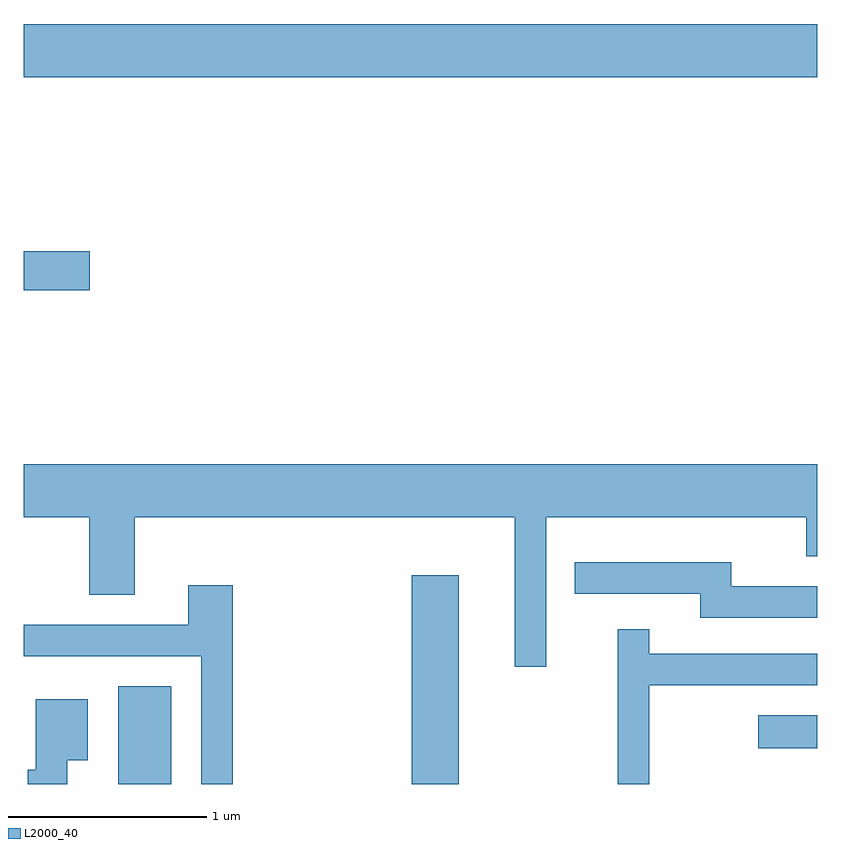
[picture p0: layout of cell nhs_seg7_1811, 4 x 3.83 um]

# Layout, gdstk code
import gdstk
lib = gdstk.Library(unit=1e-6, precision=1e-09)
def R(c, l, rs):  # rectangles x0, y0, x1, y1
    for r in rs: c.add(gdstk.rectangle(r[:2], r[2:], *l))
def P(c, l, *ps):  # polygons
    for p in ps: c.add(gdstk.Polygon(p, *l))
L2000_40 = (2000, 40)

nhs_seg7_1811 = lib.new_cell('nhs_seg7_1811')
R(nhs_seg7_1811, L2000_40, [(240.086,1766.252,240.354,1766.744), (241.566,1766.252,241.804,1767.304), (243.313,1766.431,243.611,1766.599), (239.611,1768.741,239.944,1768.939), (239.611,1769.816,243.611,1770.084)])
P(nhs_seg7_1811, L2000_40, [(242.244,1767.596),(243.556,1767.596),(243.556,1767.401),(243.611,1767.401),(243.611,1767.864),(239.611,1767.864),(239.611,1767.596),(239.941,1767.596),(239.941,1767.206),(240.169,1767.206),(240.169,1767.596),(242.086,1767.596),(242.086,1766.843),(242.244,1766.843)],
  [(243.611,1767.249),(243.179,1767.249),(243.179,1767.369),(242.388,1767.369),(242.388,1767.211),(243.021,1767.211),(243.021,1767.091),(243.611,1767.091)],
  [(240.664,1767.254),(240.441,1767.254),(240.441,1767.054),(239.611,1767.054),(239.611,1766.896),(240.506,1766.896),(240.506,1766.252),(240.664,1766.252)],
  [(242.764,1766.751),(243.611,1766.751),(243.611,1766.909),(242.764,1766.909),(242.764,1767.033),(242.606,1767.033),(242.606,1766.252),(242.764,1766.252)],
  [(239.829,1766.371),(239.934,1766.371),(239.934,1766.679),(239.671,1766.679),(239.671,1766.324),(239.631,1766.324),(239.631,1766.252),(239.829,1766.252)])

lib.write_gds('nhs_seg7_1811.gds')
